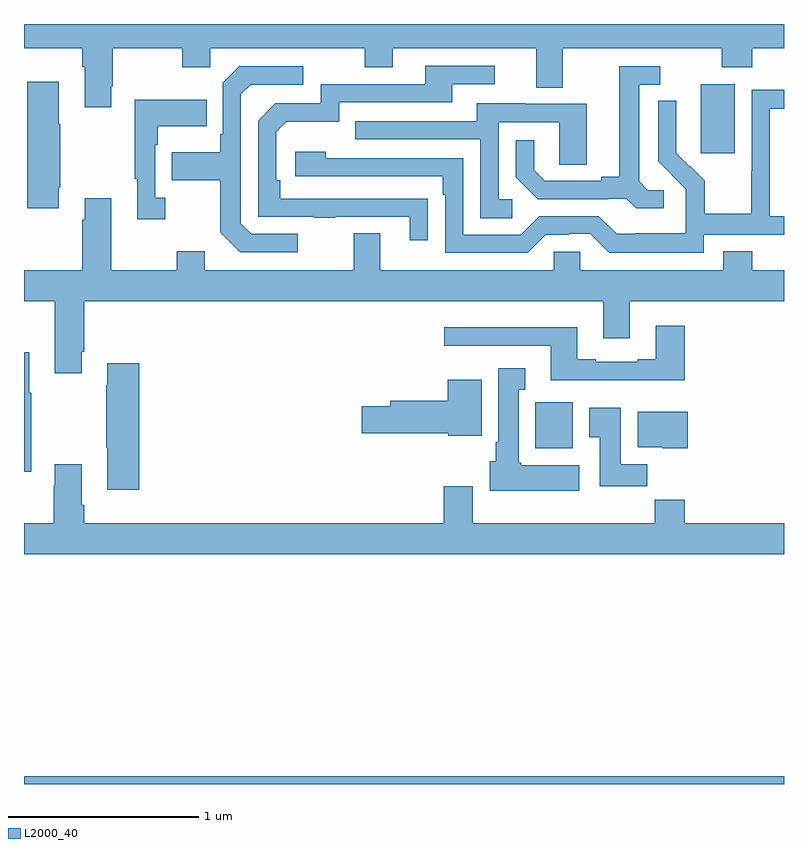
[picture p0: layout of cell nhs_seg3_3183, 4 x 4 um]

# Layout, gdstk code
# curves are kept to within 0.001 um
import gdstk
lib = gdstk.Library(unit=1e-6, precision=1e-09)
def R(c, l, rs):  # rectangles x0, y0, x1, y1
    for r in rs: c.add(gdstk.rectangle(r[:2], r[2:], *l))
def P(c, l, *ps):  # polygons
    for p in ps: c.add(gdstk.Polygon(p, *l))
L2000_40 = (2000, 40)

nhs_seg3_3183 = lib.new_cell('nhs_seg3_3183')
R(nhs_seg3_3183, L2000_40, [(277,674.4,281,674.44), (279.692,676.166,279.889,676.408), (280.562,677.721,280.741,678.082)])
P(nhs_seg3_3183, L2000_40, [(277.459,678.073),(277.467,678.073),(277.467,678.272),(277.834,678.272),(277.834,678.173),(277.98,678.173),(277.98,678.272),(278.794,678.272),(278.794,678.173),(278.941,678.173),(278.941,678.272),(279.695,678.272),(279.695,678.064),(279.835,678.064),(279.835,678.272),(280.672,678.272),(280.672,678.173),(280.832,678.173),(280.832,678.272),(281,678.272),(281,678.4),(277,678.4),(277,678.272),(277.307,678.272),(277.307,678.176),(277.319,678.176),(277.319,677.961),(277.459,677.961)],
  [(279.125,677.48),(278.348,677.481),(278.348,677.578),(278.328,677.578),(278.328,677.832),(278.381,677.885),(278.658,677.885),(278.658,677.988),(279.253,677.988),(279.253,678.084),(279.478,678.084),(279.478,678.18),(279.113,678.18),(279.113,678.084),(278.562,678.084),(278.562,677.982),(278.322,677.982),(278.232,677.892),(278.232,677.385),(278.527,677.385),(278.527,677.38),(278.639,677.38),(278.639,677.385),(279.029,677.385),(279.029,677.262),(279.125,677.262)],
  [(278.44,677.295),(278.196,677.295),(278.142,677.349),(278.142,678.03),(278.193,678.081),(278.47,678.081),(278.47,678.177),(278.133,678.177),(278.046,678.09),(278.046,677.821),(278.034,677.821),(278.034,677.725),(277.777,677.725),(277.777,677.578),(278.034,677.578),(278.034,677.305),(278.139,677.199),(278.44,677.199)],
  [(280.366,677.526),(280.284,677.526),(280.237,677.573),(280.237,678.081),(280.348,678.081),(280.348,678.177),(280.133,678.177),(280.133,677.597),(280.037,677.597),(280.037,677.574),(279.742,677.574),(279.685,677.631),(279.685,677.788),(279.588,677.788),(279.588,677.594),(279.704,677.478),(280.076,677.478),(280.076,677.481),(280.17,677.481),(280.222,677.429),(280.366,677.429)],
  [(277.183,677.542),(277.191,677.542),(277.191,677.873),(277.183,677.873),(277.183,678.097),(277.016,678.097),(277.016,677.43),(277.183,677.43)],
  [(280.578,677.292),(281,677.292),(281,677.388),(280.926,677.388),(280.926,677.955),(281,677.955),(281,678.054),(280.83,678.054),(280.83,677.624),(280.828,677.624),(280.828,677.401),(280.583,677.401),(280.583,677.575),(280.506,677.652),(280.503,677.649),(280.433,677.72),(280.434,677.996),(280.338,677.996),(280.338,677.678),(280.484,677.53),(280.484,677.433),(280.482,677.433),(280.482,677.299),(280.219,677.299),(280.219,677.295),(280.119,677.295),(280.026,677.388),(279.711,677.388),(279.615,677.292),(279.312,677.292),(279.312,677.694),(278.588,677.694),(278.588,677.728),(278.427,677.728),(278.427,677.598),(279.203,677.598),(279.203,677.501),(279.216,677.501),(279.216,677.196),(279.651,677.196),(279.747,677.292),(279.866,677.292),(279.866,677.295),(279.981,677.295),(280.081,677.195),(280.578,677.195)],
  [(277.744,677.486),(277.692,677.486),(277.692,677.765),(277.705,677.765),(277.705,677.861),(277.961,677.861),(277.961,678.001),(277.584,678.001),(277.584,677.585),(277.595,677.585),(277.595,677.373),(277.744,677.373)],
  [(279.571,677.478),(279.498,677.478),(279.498,677.883),(279.816,677.883),(279.816,677.659),(279.961,677.659),(279.961,677.979),(279.637,677.979),(279.637,677.983),(279.383,677.983),(279.383,677.889),(278.743,677.889),(278.743,677.793),(279.402,677.793),(279.402,677.377),(279.571,677.377)],
  [(277.303,676.675),(277.316,676.675),(277.316,676.94),(280.049,676.94),(280.049,676.746),(280.189,676.746),(280.189,676.94),(281,676.94),(281,677.104),(280.832,677.104),(280.832,677.203),(280.679,677.203),(280.679,677.104),(279.927,677.104),(279.927,677.202),(279.789,677.202),(279.789,677.104),(278.875,677.104),(278.875,677.299),(278.735,677.299),(278.735,677.104),(277.951,677.104),(277.951,677.203),(277.804,677.203),(277.804,677.104),(277.459,677.104),(277.459,677.482),(277.319,677.482),(277.319,677.369),(277.307,677.369),(277.307,677.104),(277,677.104),(277,676.94),(277.163,676.94),(277.163,676.563),(277.303,676.563)],
  [(280.478,676.813),(280.325,676.813),(280.325,676.636),(280.229,676.636),(280.229,676.623),(280.009,676.623),(280.009,676.636),(279.913,676.636),(279.913,676.804),(279.213,676.804),(279.213,676.707),(279.773,676.707),(279.773,676.526),(280.478,676.526)],
  [(277.039,676.459),(277.027,676.459),(277.027,676.672),(277,676.672),(277,676.043),(277.039,676.043)],
  [(277.607,676.615),(277.439,676.615),(277.439,676.502),(277.432,676.502),(277.432,676.171),(277.439,676.171),(277.439,675.948),(277.607,675.948)],
  [(279.922,676.078),(279.618,676.078),(279.618,676.092),(279.604,676.092),(279.604,676.475),(279.637,676.475),(279.637,676.588),(279.497,676.588),(279.497,676.198),(279.482,676.198),(279.482,676.098),(279.452,676.098),(279.452,675.944),(279.922,675.944)],
  [(279.409,676.528),(279.23,676.528),(279.23,676.418),(278.927,676.418),(278.927,676.388),(278.778,676.388),(278.778,676.246),(279.234,676.246),(279.234,676.232),(279.409,676.232)],
  [(280.28,676.084),(280.141,676.084),(280.141,676.381),(279.974,676.381),(279.974,676.225),(280.031,676.225),(280.031,675.966),(280.28,675.966)],
  [(280.493,676.36),(280.229,676.36),(280.229,676.172),(280.362,676.172),(280.362,676.166),(280.493,676.166)],
  [(281,675.772),(280.478,675.772),(280.478,675.896),(280.321,675.896),(280.321,675.772),(279.361,675.772),(279.361,675.967),(279.209,675.967),(279.209,675.772),(277.316,675.772),(277.316,675.868),(277.303,675.868),(277.303,676.084),(277.163,676.084),(277.163,675.971),(277.156,675.971),(277.156,675.772),(277,675.772),(277,675.608),(281,675.608)])

lib.write_gds('nhs_seg3_3183.gds')
